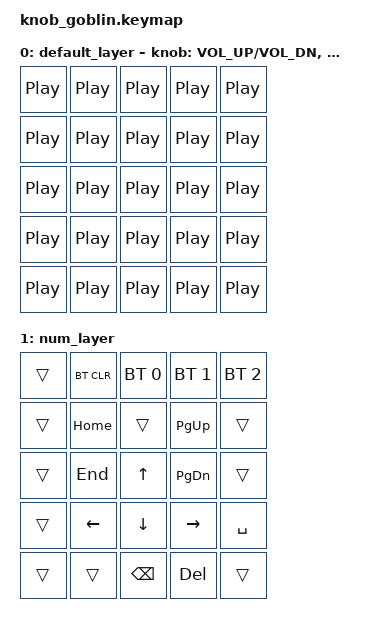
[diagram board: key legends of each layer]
/*
 * Copyright (c) 2022 The ZMK Contributors
 *
 * SPDX-License-Identifier: MIT
 */

#include <behaviors.dtsi>
#include <dt-bindings/zmk/keys.h>
#include <dt-bindings/zmk/bt.h>

/ {
    keymap {
        compatible = "zmk,keymap";

        default_layer {

            bindings = <
    &kp C_PLAY_PAUSE &kp C_PLAY_PAUSE &kp C_PLAY_PAUSE &kp C_PLAY_PAUSE &kp C_PLAY_PAUSE
&kp C_PLAY_PAUSE &kp C_PLAY_PAUSE &kp C_PLAY_PAUSE &kp C_PLAY_PAUSE &kp C_PLAY_PAUSE
&kp C_PLAY_PAUSE &kp C_PLAY_PAUSE &kp C_PLAY_PAUSE &kp C_PLAY_PAUSE &kp C_PLAY_PAUSE
&kp C_PLAY_PAUSE &kp C_PLAY_PAUSE &kp C_PLAY_PAUSE &kp C_PLAY_PAUSE &kp C_PLAY_PAUSE
&kp C_PLAY_PAUSE &kp C_PLAY_PAUSE &kp C_PLAY_PAUSE &kp C_PLAY_PAUSE &kp C_PLAY_PAUSE
    >;

            sensor-bindings = <&inc_dec_kp C_VOL_UP C_VOL_DN &inc_dec_kp PG_UP PG_DN>;
        };

        num_layer {
            bindings = <
    &trans   &bt BT_CLR      &bt BT_SEL 0   &bt BT_SEL 1     &bt BT_SEL 2
    &trans   &kp HOME        &trans         &kp PAGE_UP      &trans
    &trans   &kp END         &kp UP_ARROW   &kp PAGE_DOWN    &trans
    &trans   &kp LEFT_ARROW  &kp DOWN_ARROW &kp RIGHT_ARROW  &kp SPACE
    &trans   &trans          &kp BACKSPACE  &kp DELETE       &trans
            >;

        };
    };
};

